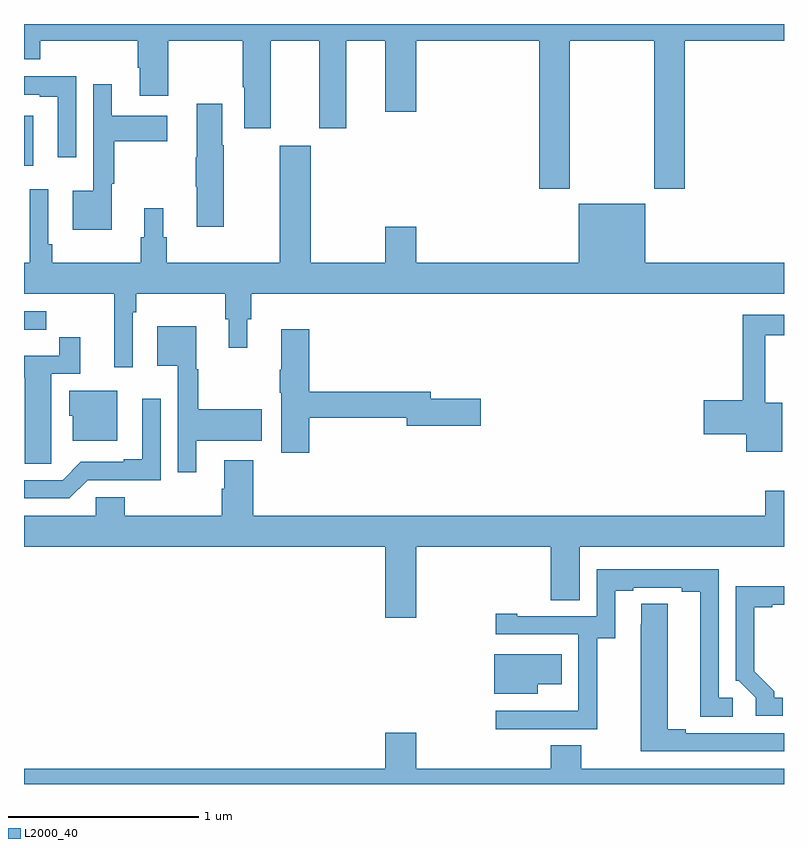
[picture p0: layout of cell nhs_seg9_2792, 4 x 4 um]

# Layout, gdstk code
import gdstk
lib = gdstk.Library(unit=1e-6, precision=1e-09)
def R(c, l, rs):  # rectangles x0, y0, x1, y1
    for r in rs: c.add(gdstk.rectangle(r[:2], r[2:], *l))
def P(c, l, *ps):  # polygons
    for p in ps: c.add(gdstk.Polygon(p, *l))
L2000_40 = (2000, 40)

nhs_seg9_2792 = lib.new_cell('nhs_seg9_2792')
R(nhs_seg9_2792, L2000_40, [(271,1203.755,271.048,1204.018)])
P(nhs_seg9_2792, L2000_40, [(273.873,1204.412),(274.318,1204.412),(274.318,1203.633),(274.478,1203.633),(274.478,1204.412),(275,1204.412),(275,1204.5),(271,1204.5),(271,1204.314),(271.085,1204.314),(271.085,1204.412),(271.598,1204.412),(271.598,1204.27),(271.61,1204.27),(271.61,1204.122),(271.758,1204.122),(271.758,1204.412),(272.152,1204.412),(272.152,1204.168),(272.159,1204.168),(272.159,1203.951),(272.299,1203.951),(272.299,1204.412),(272.555,1204.412),(272.555,1203.951),(272.695,1203.951),(272.695,1204.412),(272.9,1204.412),(272.9,1204.038),(273.064,1204.038),(273.064,1204.412),(273.713,1204.412),(273.713,1203.633),(273.873,1203.633)],
  [(271.275,1204.224),(271,1204.224),(271,1204.128),(271.082,1204.128),(271.082,1204.116),(271.178,1204.116),(271.178,1203.798),(271.275,1203.798)],
  [(271.462,1203.66),(271.474,1203.66),(271.474,1203.884),(271.753,1203.884),(271.753,1204.018),(271.462,1204.018),(271.462,1204.183),(271.365,1204.183),(271.365,1203.622),(271.256,1203.622),(271.256,1203.416),(271.462,1203.416)],
  [(272.052,1203.863),(272.044,1203.863),(272.044,1204.081),(271.91,1204.081),(271.91,1203.8),(271.903,1203.8),(271.903,1203.644),(271.91,1203.644),(271.91,1203.432),(272.052,1203.432)],
  [(272.059,1202.946),(272.078,1202.946),(272.078,1202.796),(272.176,1202.796),(272.176,1202.946),(272.195,1202.946),(272.195,1203.08),(275,1203.08),(275,1203.244),(274.27,1203.244),(274.27,1203.553),(273.92,1203.553),(273.92,1203.244),(273.064,1203.244),(273.064,1203.433),(272.9,1203.433),(272.9,1203.244),(272.509,1203.244),(272.509,1203.859),(272.345,1203.859),(272.345,1203.244),(271.751,1203.244),(271.751,1203.378),(271.732,1203.378),(271.732,1203.529),(271.634,1203.529),(271.634,1203.378),(271.615,1203.378),(271.615,1203.244),(271.148,1203.244),(271.148,1203.34),(271.128,1203.34),(271.128,1203.631),(271.031,1203.631),(271.031,1203.244),(271,1203.244),(271,1203.08),(271.475,1203.08),(271.475,1202.694),(271.572,1202.694),(271.572,1202.984),(271.592,1202.984),(271.592,1203.08),(272.059,1203.08)],
  [(271.004,1202.892),(271.117,1202.892),(271.117,1202.988),(271,1202.988),(271,1202.891),(271.004,1202.891)],
  [(274.99,1202.506),(274.901,1202.506),(274.901,1202.862),(275,1202.862),(275,1202.97),(274.783,1202.97),(274.783,1202.519),(274.578,1202.519),(274.578,1202.341),(274.802,1202.341),(274.802,1202.249),(274.99,1202.249)],
  [(271.906,1202.306),(272.251,1202.306),(272.251,1202.472),(271.918,1202.472),(271.918,1202.682),(271.906,1202.682),(271.906,1202.908),(271.7,1202.908),(271.7,1202.702),(271.809,1202.702),(271.809,1202.142),(271.906,1202.142)],
  [(272.501,1202.428),(273.014,1202.428),(273.014,1202.386),(273.403,1202.386),(273.403,1202.528),(273.142,1202.528),(273.142,1202.564),(272.501,1202.564),(272.501,1202.893),(272.354,1202.893),(272.354,1202.68),(272.347,1202.68),(272.347,1202.56),(272.354,1202.56),(272.354,1202.244),(272.501,1202.244)],
  [(271.143,1202.296),(271.144,1202.296),(271.144,1202.658),(271.295,1202.658),(271.295,1202.851),(271.186,1202.851),(271.186,1202.754),(271,1202.754),(271,1202.638),(271.004,1202.638),(271.004,1202.185),(271.143,1202.185)],
  [(271.492,1202.569),(271.238,1202.569),(271.238,1202.439),(271.256,1202.439),(271.256,1202.306),(271.492,1202.306)],
  [(271.335,1202.1),(271.719,1202.1),(271.719,1202.527),(271.622,1202.527),(271.622,1202.209),(271.526,1202.209),(271.526,1202.196),(271.299,1202.196),(271.203,1202.1),(271,1202.1),(271,1202.004),(271.239,1202.004)],
  [(273.064,1201.748),(273.773,1201.748),(273.773,1201.468),(273.925,1201.468),(273.925,1201.748),(275,1201.748),(275,1202.044),(274.901,1202.044),(274.901,1201.912),(272.207,1201.912),(272.207,1202.203),(272.054,1202.203),(272.054,1202.054),(272.042,1202.054),(272.042,1201.912),(271.529,1201.912),(271.529,1202.01),(271.377,1202.01),(271.377,1201.912),(271,1201.912),(271,1201.748),(272.9,1201.748),(272.9,1201.374),(273.064,1201.374)],
  [(274.017,1201.267),(274.111,1201.267),(274.111,1201.518),(274.207,1201.518),(274.207,1201.533),(274.463,1201.533),(274.463,1201.513),(274.559,1201.513),(274.559,1200.853),(274.729,1200.853),(274.729,1200.954),(274.656,1200.954),(274.656,1201.629),(274.014,1201.629),(274.014,1201.383),(273.595,1201.383),(273.595,1201.396),(273.483,1201.396),(273.483,1201.287),(273.918,1201.287),(273.918,1200.886),(273.917,1200.886),(273.917,1200.885),(273.483,1200.885),(273.483,1200.789),(274.017,1200.789)],
  [(274.993,1200.954),(274.948,1200.954),(274.948,1200.989),(274.843,1201.094),(274.843,1201.431),(274.939,1201.431),(274.939,1201.443),(275,1201.443),(275,1201.541),(274.746,1201.541),(274.746,1201.044),(274.761,1201.044),(274.851,1200.954),(274.851,1200.858),(274.993,1200.858)],
  [(275,1200.768),(274.483,1200.768),(274.483,1200.788),(274.387,1200.788),(274.387,1201.448),(274.248,1201.448),(274.248,1201.34),(274.247,1201.34),(274.247,1200.672),(275,1200.672)],
  [(273.703,1201.025),(273.829,1201.025),(273.829,1201.183),(273.476,1201.183),(273.476,1200.974),(273.703,1200.974)],
  [(275,1200.58),(273.933,1200.58),(273.933,1200.704),(273.773,1200.704),(273.773,1200.58),(273.064,1200.58),(273.064,1200.769),(272.9,1200.769),(272.9,1200.58),(271,1200.58),(271,1200.5),(275,1200.5)])

lib.write_gds('nhs_seg9_2792.gds')
